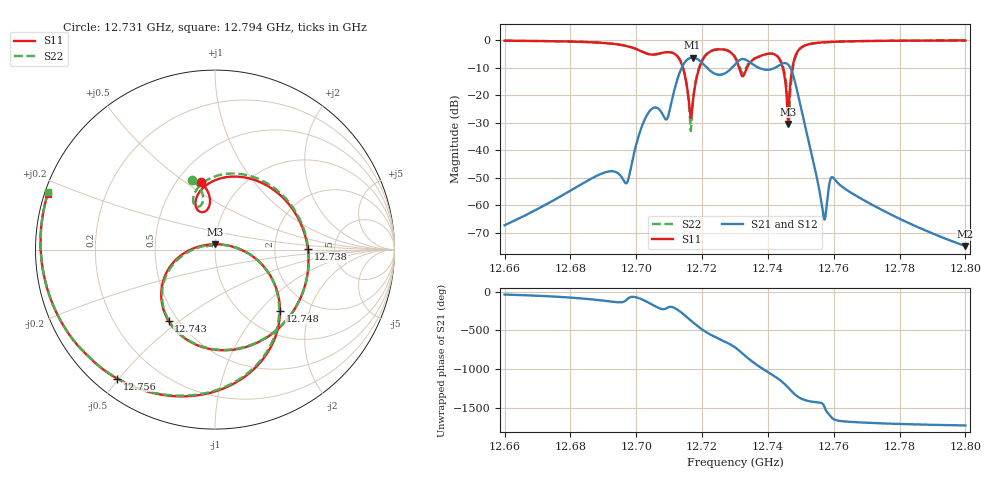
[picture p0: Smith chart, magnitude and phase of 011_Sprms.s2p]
! TOUCHSTONE file generated by CST MICROWAVE STUDIO
! Date and time: Wed Jul 31 11:08:49 2024
! Project name: WaveGuide_BPF-Ver4.1_U-shape_Ku_T3_C4_CWA_2.cst
! Parameters = {cavity_h=16; cavity_l0=10; cavity_l1=15.2342; cavity_l2=16.8614; cavity_l3=17.1323; cavity_l4=17.2671; cavity_l5=17.152; cavity_l6=17.5607; cavity_r=2.5; cavity_screw_l=0.5; cavity_screw_r=1.5; cavity_w=8; iris_h00=0; iris_h01=8.8254; iris_h112=0; iris_h12=5.5999; iris_h211=3.6635; i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
! Header version: 2018
! Port assignment regex: !\s*Touchstone port\s*([0-9]+)\s*=\s*(CST MWS port|CST DS port)\s*([0-9]+|Zmin|Zmax)\s*\(\"(.*)\"\)(\s*mode\s*([0-9]+))?.*
! Touchstone port assignment:
! Touchstone port 1 = CST MWS port 1 ("")
! Touchstone port 2 = CST MWS port 2 ("")
# GHz S RI R 50
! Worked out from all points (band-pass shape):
!   5001 points, 12.66 GHz to 12.8 GHz, reference 50 ohm
!   highest |S21| = -6.39 dB at 12.717 GHz (marker M1); lowest = -75.0 dB at 12.8 GHz (marker M2)
!   |S21| within 3 dB of the highest: 12.71408 GHz to 12.7209 GHz (6.827 MHz wide, 0.0537 % of centre); 12.72959 GHz to 12.73616 GHz (6.57 MHz wide, 0.0516 % of centre) (the widest 2 of 3)
!   lowest |S11| = -30.5 dB at 12.746 GHz (marker M3), VSWR 1.06, Z = 50.2 + j2.99 ohm
!   |S11| at or under -10 dB: 12.71415 GHz to 12.71919 GHz (5.032 MHz wide, 0.0396 % of centre); 12.73123 GHz to 12.73366 GHz (2.437 MHz wide, 0.0191 % of centre); 12.74449 GHz to 12.74744 GHz (2.953 MHz wide, 0.0232 % of centre)
!   |S22| runs from -33.1 to -0.1 dB; largest |S21 - S12| = 1e-09
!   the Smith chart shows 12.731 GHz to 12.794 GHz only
!   S11 on the Smith chart (normalised r, x): 12.731 GHz: 0.65, +0.58; 12.738 GHz: 3.14, +0.01; 12.743 GHz: 0.44, -0.46; 12.748 GHz: 1.44, -1.30; 12.756 GHz: 0.06, -0.49; 12.794 GHz: 0.01, +0.16
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12.66  0.4917 0.8407  0.000352 -0.000246  0.000352 -0.000246  0.4987 0.8365
12.68335  0.9122 0.1737  0.000196 -0.00239  0.000196 -0.00239  0.9141 0.1653
12.69755  0.0574 -0.7633  0.000265 -0.00287  0.000265 -0.00287  0.0698 -0.7675
12.70239  -0.5931 -0.0143  -0.0119 -0.032  -0.0119 -0.032  -0.5951 -0.0473
12.70668  0.3435 0.4495  -0.0511 0.0251  -0.0511 0.0251  0.327 0.4524
12.71141  0.1791 -0.5422  -0.1022 0.0482  -0.1022 0.0482  0.1874 -0.5453
12.71457  -0.2432 -0.0805  0.1821 0.3357  0.1821 0.3357  -0.2432 -0.0998
12.71709  0.0606 0.0252  0.415 -0.2397  0.415 -0.2397  0.0645 0.00429
12.72247  -0.2377 -0.5678  -0.2705 0.0569  -0.2705 0.0569  -0.2665 -0.5681
12.72628  -0.6745 -0.0281  0.00359 0.2392  0.00359 0.2392  -0.6855 -0.0381
12.73  -0.2041 0.4359  0.3611 0.00636  0.3611 0.00636  -0.2513 0.4333
12.73076  -0.0791 0.3755  0.3707 -0.1568  0.3707 -0.1568  -0.1276 0.388
12.73448  -0.00725 0.3833  -0.3669 -0.149  -0.3669 -0.149  -0.0245 0.398
12.73787  0.5174 0.00135  -0.0444 0.2998  -0.0444 0.2998  0.5139 0.0422
12.74324  -0.2585 -0.3976  0.226 -0.2574  0.226 -0.2574  -0.2377 -0.4239
12.74613  0.00276 0.0298  -0.3346 -0.131  -0.3346 -0.131  -0.0542 0.0218
12.74826  0.3621 -0.3402  -0.0561 0.1615  -0.0561 0.1615  0.3559 -0.2977
12.75335  -0.3117 -0.8059  0.00772 0.00252  0.00772 0.00252  -0.3113 -0.8031
12.75598  -0.5461 -0.7186  0.00141 0.000102  0.00141 0.000102  -0.5495 -0.7146
12.77668  -0.9711 0.00135  -4.81e-05 0.000703  -4.81e-05 0.000703  -0.9712 0.00986
12.79426  -0.9319 0.3118  6.42e-05 0.000232  6.42e-05 0.000232  -0.9296 0.319
12.8  -0.908 0.3811  6.11e-05 0.000168  6.11e-05 0.000168  -0.9052 0.3879
